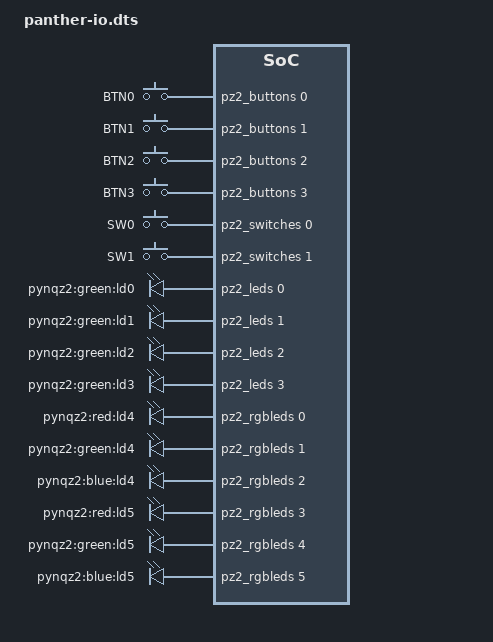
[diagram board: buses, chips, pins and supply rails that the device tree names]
/dts-v1/;
/plugin/;

/*
 * panther-io.dts - describes the base overlay's buttons, switches and LEDs to Linux.
 *
 * The base overlay contains four Xilinx AXI GPIO blocks. The kernel already has the drivers (gpio-xilinx, gpio-keys-polled,
 * leds-gpio); what is missing is a devicetree that says where the blocks are. The boot devicetree cannot say it, because the
 * blocks only exist after the base bitstream has been loaded into the FPGA, so this file is applied at run time (see
 * scripts/panther-io-load.sh). Touching an unconfigured block would hang the CPU - never apply this before the bitstream.
 *
 * Interrupts are left out on purpose: the buttons are polled every 20 ms, which is plenty for humans and needs no wiring.
 *
 * Addresses come from the hardware description of the overlay (base.hwh):
 *   switches 0x41200000 (2 bits)   buttons 0x41210000 (4 bits)   RGB LEDs 0x41240000 (6 bits)   LEDs 0x41250000 (4 bits)
 */
/ {
	fragment@0 {
		target-path = "/";
		__overlay__ {
			pz2_switches: gpio@41200000 {
				compatible = "xlnx,xps-gpio-1.00.a";
				reg = <0x41200000 0x10000>;
				#gpio-cells = <2>;
				gpio-controller;
				xlnx,gpio-width = <2>;
				xlnx,all-inputs = <1>;
				xlnx,all-outputs = <0>;
				xlnx,dout-default = <0>;
				xlnx,tri-default = <0xffffffff>;
				xlnx,is-dual = <0>;
				xlnx,interrupt-present = <0>;
			};
			pz2_buttons: gpio@41210000 {
				compatible = "xlnx,xps-gpio-1.00.a";
				reg = <0x41210000 0x10000>;
				#gpio-cells = <2>;
				gpio-controller;
				xlnx,gpio-width = <4>;
				xlnx,all-inputs = <1>;
				xlnx,all-outputs = <0>;
				xlnx,dout-default = <0>;
				xlnx,tri-default = <0xffffffff>;
				xlnx,is-dual = <0>;
				xlnx,interrupt-present = <0>;
			};
			pz2_rgbleds: gpio@41240000 {
				compatible = "xlnx,xps-gpio-1.00.a";
				reg = <0x41240000 0x10000>;
				#gpio-cells = <2>;
				gpio-controller;
				xlnx,gpio-width = <6>;
				xlnx,all-inputs = <0>;
				xlnx,all-outputs = <1>;
				xlnx,dout-default = <0>;
				xlnx,tri-default = <0xffffffff>;
				xlnx,is-dual = <0>;
				xlnx,interrupt-present = <0>;
			};
			pz2_leds: gpio@41250000 {
				compatible = "xlnx,xps-gpio-1.00.a";
				reg = <0x41250000 0x10000>;
				#gpio-cells = <2>;
				gpio-controller;
				xlnx,gpio-width = <4>;
				xlnx,all-inputs = <0>;
				xlnx,all-outputs = <1>;
				xlnx,dout-default = <0>;
				xlnx,tri-default = <0xffffffff>;
				xlnx,is-dual = <0>;
				xlnx,interrupt-present = <0>;
			};

			/*
			 * Buttons become keyboard keys, switches become switch events. Key numbers are from
			 * include/uapi/linux/input-event-codes.h; change them to taste (avoid KEY_POWER: systemd would power off).
			 */
			pz2-keys {
				compatible = "gpio-keys-polled";
				poll-interval = <20>;
				button-0 { label = "BTN0"; gpios = <&pz2_buttons 0 0>; linux,code = <114>; };	/* KEY_VOLUMEDOWN */
				button-1 { label = "BTN1"; gpios = <&pz2_buttons 1 0>; linux,code = <115>; };	/* KEY_VOLUMEUP */
				button-2 { label = "BTN2"; gpios = <&pz2_buttons 2 0>; linux,code = <113>; };	/* KEY_MUTE */
				button-3 { label = "BTN3"; gpios = <&pz2_buttons 3 0>; linux,code = <164>; };	/* KEY_PLAYPAUSE */
				switch-0 { label = "SW0"; gpios = <&pz2_switches 0 0>; linux,input-type = <5>; linux,code = <6>; };	/* SW_LINEOUT_INSERT */
				switch-1 { label = "SW1"; gpios = <&pz2_switches 1 0>; linux,input-type = <5>; linux,code = <7>; };	/* SW_JACK_PHYSICAL_INSERT */
			};

			/* LEDs show up under /sys/class/leds/ and support triggers (heartbeat, disk activity, ...) */
			pz2-leds {
				compatible = "gpio-leds";
				led-0 { label = "pynqz2:green:ld0"; gpios = <&pz2_leds 0 0>; };
				led-1 { label = "pynqz2:green:ld1"; gpios = <&pz2_leds 1 0>; };
				led-2 { label = "pynqz2:green:ld2"; gpios = <&pz2_leds 2 0>; };
				led-3 { label = "pynqz2:green:ld3"; gpios = <&pz2_leds 3 0>; };
				led-4r { label = "pynqz2:red:ld4"; gpios = <&pz2_rgbleds 0 0>; };
				led-4g { label = "pynqz2:green:ld4"; gpios = <&pz2_rgbleds 1 0>; };
				led-4b { label = "pynqz2:blue:ld4"; gpios = <&pz2_rgbleds 2 0>; };
				led-5r { label = "pynqz2:red:ld5"; gpios = <&pz2_rgbleds 3 0>; };
				led-5g { label = "pynqz2:green:ld5"; gpios = <&pz2_rgbleds 4 0>; };
				led-5b { label = "pynqz2:blue:ld5"; gpios = <&pz2_rgbleds 5 0>; };
			};
		};
	};
};
